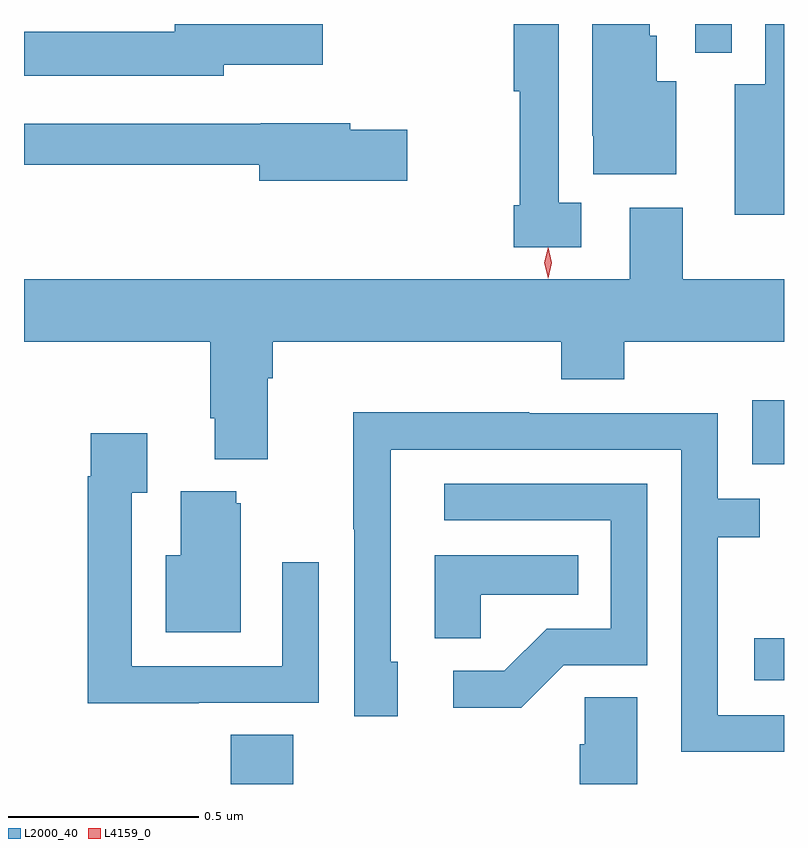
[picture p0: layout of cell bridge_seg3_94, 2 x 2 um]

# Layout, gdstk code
import gdstk
lib = gdstk.Library(unit=1e-6, precision=1e-09)
def R(c, l, rs):  # rectangles x0, y0, x1, y1
    for r in rs: c.add(gdstk.rectangle(r[:2], r[2:], *l))
def P(c, l, *ps):  # polygons
    for p in ps: c.add(gdstk.Polygon(p, *l))
L2000_40 = (2000, 40)
L4159_0 = (4159, 0)

bridge_seg3_94 = lib.new_cell('bridge_seg3_94')
R(bridge_seg3_94, L2000_40, [(432.113,745.04,432.278,745.169), (433.491,745.313,433.569,745.423), (433.485,745.881,433.569,746.05), (433.335,746.964,433.431,747.04)])
P(bridge_seg3_94, L2000_40, [(432.094,746.933),(432.355,746.933),(432.355,747.04),(431.966,747.04),(431.966,747.02),(431.569,747.02),(431.569,746.904),(432.094,746.904)],
  [(433.036,746.57),(432.976,746.57),(432.976,747.04),(432.858,747.04),(432.858,746.863),(432.873,746.863),(432.873,746.563),(432.858,746.563),(432.858,746.453),(433.036,746.453)],
  [(433.285,746.89),(433.234,746.89),(433.234,747.009),(433.216,747.009),(433.216,747.04),(433.064,747.04),(433.064,746.746),(433.067,746.746),(433.067,746.645),(433.285,746.645)],
  [(433.569,747.04),(433.52,747.04),(433.52,746.881),(433.439,746.881),(433.439,746.538),(433.569,746.538)],
  [(432.577,746.762),(432.427,746.762),(432.427,746.779),(432.192,746.779),(432.192,746.778),(431.569,746.778),(431.569,746.67),(432.188,746.67),(432.188,746.627),(432.577,746.627)],
  [(432.211,746.108),(432.224,746.108),(432.224,746.204),(432.983,746.204),(432.983,746.105),(433.148,746.105),(433.148,746.204),(433.569,746.204),(433.569,746.368),(433.303,746.368),(433.303,746.557),(433.163,746.557),(433.163,746.368),(431.569,746.368),(431.569,746.204),(432.059,746.204),(432.059,746.002),(432.071,746.002),(432.071,745.895),(432.211,745.895)],
  [(433.569,745.221),(433.395,745.221),(433.395,745.69),(433.505,745.69),(433.505,745.791),(433.395,745.791),(433.395,746.016),(432.899,746.016),(432.899,746.018),(432.436,746.018),(432.436,745.711),(432.438,745.711),(432.438,745.218),(432.553,745.218),(432.553,745.362),(432.534,745.362),(432.534,745.92),(433.299,745.92),(433.299,745.125),(433.569,745.125)],
  [(432.029,745.254),(432.345,745.254),(432.345,745.624),(432.249,745.624),(432.249,745.35),(431.853,745.35),(431.853,745.807),(431.893,745.807),(431.893,745.963),(431.745,745.963),(431.745,745.85),(431.737,745.85),(431.737,745.253),(432.029,745.253)],
  [(432.99,745.353),(433.209,745.353),(433.209,745.83),(432.675,745.83),(432.675,745.734),(433.113,745.734),(433.113,745.449),(432.944,745.449),(432.833,745.338),(432.699,745.338),(432.699,745.241),(432.877,745.241)],
  [(432.139,745.779),(432.128,745.779),(432.128,745.81),(431.981,745.81),(431.981,745.642),(431.942,745.642),(431.942,745.439),(432.139,745.439)],
  [(432.771,745.538),(433.028,745.538),(433.028,745.642),(432.65,745.642),(432.65,745.423),(432.771,745.423)],
  [(433.183,745.268),(433.044,745.268),(433.044,745.145),(433.031,745.145),(433.031,745.04),(433.183,745.04)])
P(bridge_seg3_94, L4159_0, [(432.948,746.371),(432.948,746.371),(432.938,746.412),(432.948,746.452),(432.948,746.453),(432.948,746.452),(432.958,746.412),(432.948,746.371)])

lib.write_gds('bridge_seg3_94.gds')
